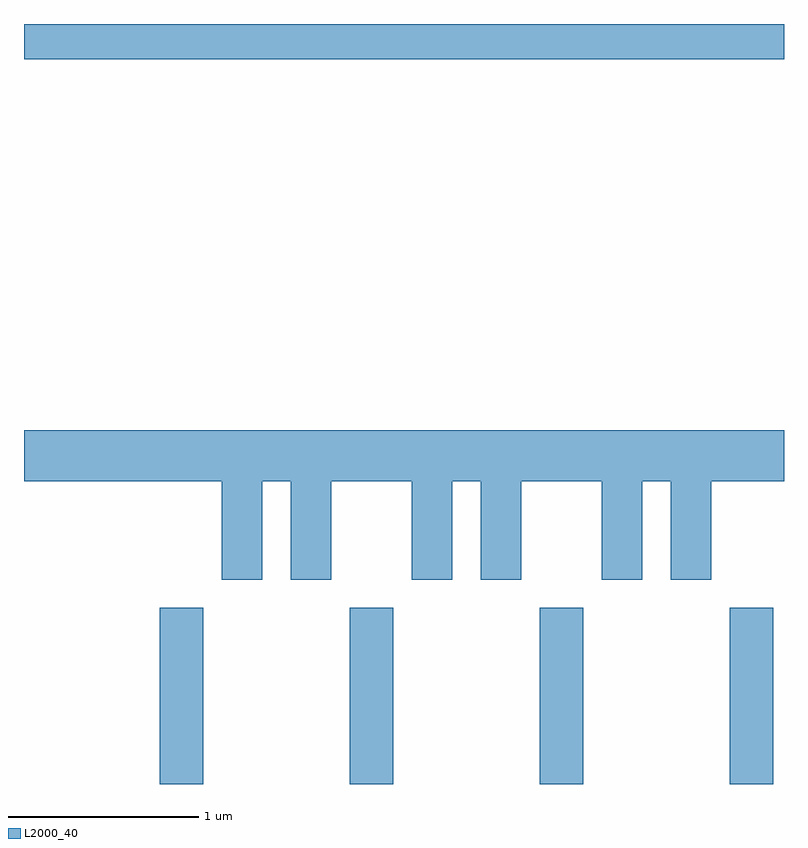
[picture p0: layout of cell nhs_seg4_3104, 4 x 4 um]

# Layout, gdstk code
import gdstk
lib = gdstk.Library(unit=1e-6, precision=1e-09)
def R(c, l, rs):  # rectangles x0, y0, x1, y1
    for r in rs: c.add(gdstk.rectangle(r[:2], r[2:], *l))
def A(c, l, x, y, w, h, nx, ny, dx, dy):  # array of equal rectangles
    R(c, l, [(x+i*dx, y+j*dy, x+i*dx+w, y+j*dy+h) for i in range(nx) for j in range(ny)])
def P(c, l, *ps):  # polygons
    for p in ps: c.add(gdstk.Polygon(p, *l))
L2000_40 = (2000, 40)

nhs_seg4_3104 = lib.new_cell('nhs_seg4_3104')
A(nhs_seg4_3104, L2000_40, 276.326, 1341.982, 0.228, 0.927, 4, 1, 1, 0)
R(nhs_seg4_3104, L2000_40, [(275.611,1345.796,279.611,1345.982)])
P(nhs_seg4_3104, L2000_40, [(276.864,1343.576),(277.016,1343.576),(277.016,1343.056),(277.229,1343.056),(277.229,1343.576),(277.651,1343.576),(277.651,1343.056),(277.864,1343.056),(277.864,1343.576),(278.016,1343.576),(278.016,1343.056),(278.229,1343.056),(278.229,1343.576),(278.651,1343.576),(278.651,1343.056),(278.864,1343.056),(278.864,1343.576),(279.016,1343.576),(279.016,1343.056),(279.229,1343.056),(279.229,1343.576),(279.611,1343.576),(279.611,1343.844),(275.611,1343.844),(275.611,1343.576),(276.651,1343.576),(276.651,1343.056),(276.864,1343.056)])

lib.write_gds('nhs_seg4_3104.gds')
